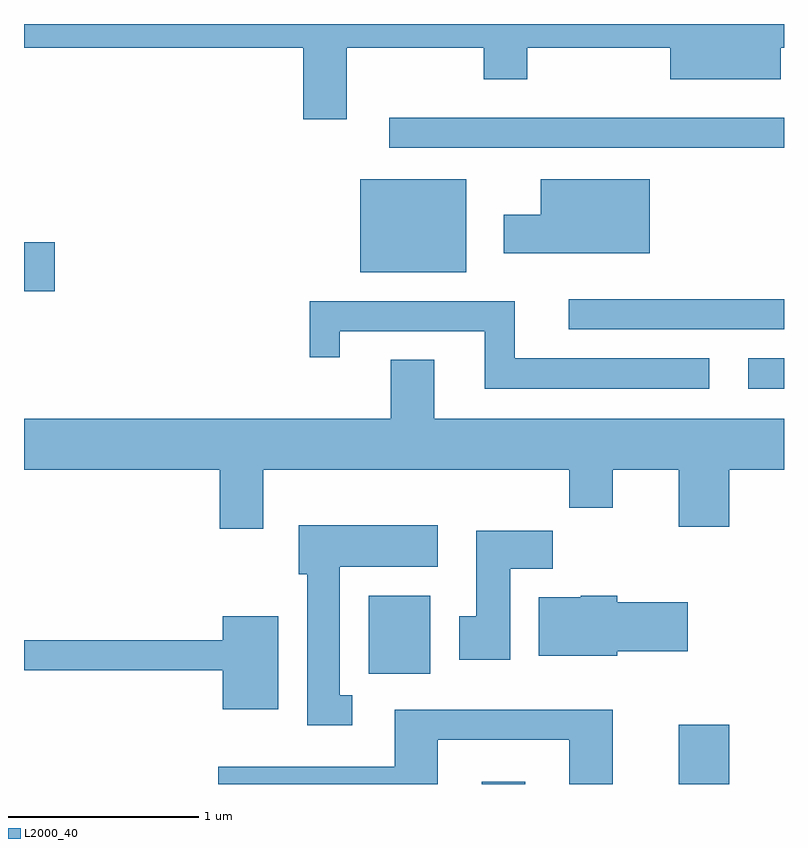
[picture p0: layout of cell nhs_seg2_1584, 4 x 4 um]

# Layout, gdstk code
import gdstk
lib = gdstk.Library(unit=1e-6, precision=1e-09)
def R(c, l, rs):  # rectangles x0, y0, x1, y1
    for r in rs: c.add(gdstk.rectangle(r[:2], r[2:], *l))
def P(c, l, *ps):  # polygons
    for p in ps: c.add(gdstk.Polygon(p, *l))
L2000_40 = (2000, 40)

nhs_seg2_1584 = lib.new_cell('nhs_seg2_1584')
R(nhs_seg2_1584, L2000_40, [(234.021,1017.802,234.249,1017.814), (235.056,1017.802,235.324,1018.114), (233.426,1018.381,233.749,1018.794), (235.423,1019.881,235.611,1020.044), (234.478,1020.196,235.611,1020.354), (231.611,1020.396,231.774,1020.654), (233.381,1020.496,233.939,1020.984), (233.533,1021.151,235.611,1021.309)])
P(nhs_seg2_1584, L2000_40, [(233.309,1021.676),(234.031,1021.676),(234.031,1021.511),(234.259,1021.511),(234.259,1021.676),(235.011,1021.676),(235.011,1021.511),(235.594,1021.511),(235.594,1021.676),(235.611,1021.676),(235.611,1021.802),(231.611,1021.802),(231.611,1021.676),(233.081,1021.676),(233.081,1021.301),(233.309,1021.301)],
  [(234.904,1020.984),(234.331,1020.984),(234.331,1020.799),(234.136,1020.799),(234.136,1020.596),(234.904,1020.596)],
  [(235.218,1020.044),(234.194,1020.044),(234.194,1020.344),(233.116,1020.344),(233.116,1020.048),(233.274,1020.048),(233.274,1020.186),(234.036,1020.186),(234.036,1019.881),(235.218,1019.881)],
  [(232.869,1019.456),(234.481,1019.456),(234.481,1019.256),(234.709,1019.256),(234.709,1019.456),(235.056,1019.456),(235.056,1019.156),(235.324,1019.156),(235.324,1019.456),(235.611,1019.456),(235.611,1019.724),(233.769,1019.724),(233.769,1020.034),(233.541,1020.034),(233.541,1019.724),(231.611,1019.724),(231.611,1019.456),(232.641,1019.456),(232.641,1019.146),(232.869,1019.146)],
  [(233.338,1018.269),(233.274,1018.269),(233.274,1018.946),(233.789,1018.946),(233.789,1019.164),(233.056,1019.164),(233.056,1018.906),(233.101,1018.906),(233.101,1018.111),(233.338,1018.111)],
  [(234.169,1018.936),(234.394,1018.936),(234.394,1019.134),(233.991,1019.134),(233.991,1018.684),(233.901,1018.684),(233.901,1018.456),(234.169,1018.456)],
  [(234.734,1018.501),(235.104,1018.501),(235.104,1018.759),(234.734,1018.759),(234.734,1018.794),(234.54,1018.794),(234.54,1018.784),(234.321,1018.784),(234.321,1018.476),(234.734,1018.476)],
  [(232.949,1018.684),(232.656,1018.684),(232.656,1018.559),(231.611,1018.559),(231.611,1018.401),(232.656,1018.401),(232.656,1018.196),(232.949,1018.196)],
  [(233.789,1018.036),(234.481,1018.036),(234.481,1017.802),(234.709,1017.802),(234.709,1018.194),(233.561,1018.194),(233.561,1017.894),(232.633,1017.894),(232.633,1017.802),(233.789,1017.802)])

lib.write_gds('nhs_seg2_1584.gds')
